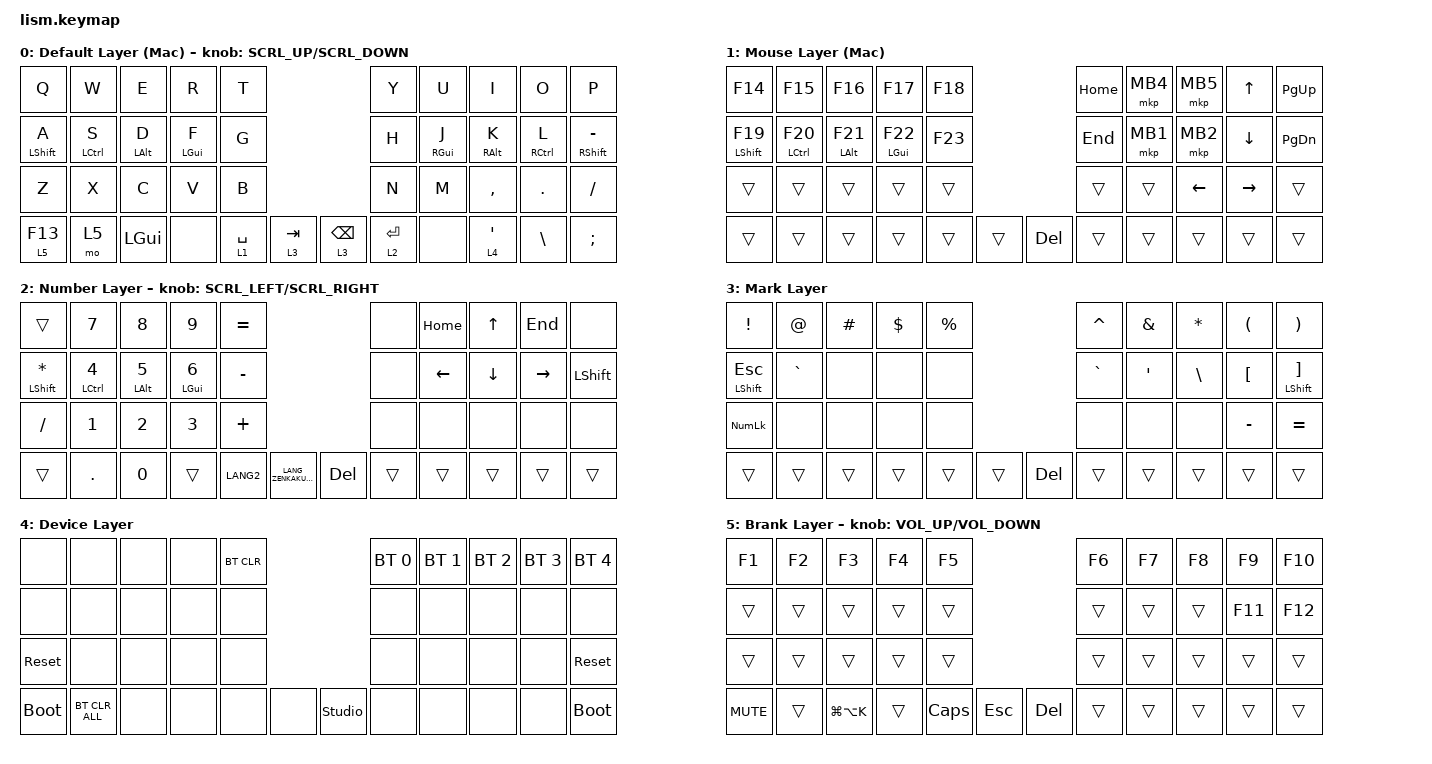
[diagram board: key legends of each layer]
#define ZMK_POINTING_DEFAULT_SCRL_VAL 100

#include <dt-bindings/zmk/mouse.h>
#include <behaviors.dtsi>
#include <dt-bindings/zmk/bt.h>
#include <dt-bindings/zmk/keys.h>
#include <dt-bindings/zmk/pointing.h>

&mt {
    tapping-term-ms = <300>;
    flavor = "balanced";
};

&lt { quick-tap-ms = <300>; };

/ {
    macros {
        emoji: emoji_macro {
            compatible = "zmk,behavior-macro";
            label = "EMOJI";
            #binding-cells = <0>;
            bindings =
                <&macro_press>,
                <&kp CAPSLOCK>,
                <&macro_tap>,
                <&kp E>,
                <&macro_release>,
                <&kp CAPSLOCK>;
        };
    };

    behaviors {
        encoder_msc: sensor_rotate_msc {
            compatible = "zmk,behavior-sensor-rotate-var";
            #sensor-binding-cells = <2>;
            bindings = <&msc>, <&msc>;

            tap-ms = <20>;
        };

        encoder_kp: sensor_rotate_kp {
            compatible = "zmk,behavior-sensor-rotate-var";
            #sensor-binding-cells = <2>;
            bindings = <&kp>, <&kp>;
        };
    };

    keymap {
        compatible = "zmk,keymap";

        default_layer {
            display-name = "Default Layer (Mac)";
            bindings = <
&kp Q             &kp W               &kp E           &kp R           &kp T                                      &kp Y        &kp U            &kp I            &kp O                &kp P
&mt LEFT_SHIFT A  &mt LEFT_CONTROL S  &mt LEFT_ALT D  &mt LEFT_GUI F  &kp G                                      &kp H        &mt RIGHT_GUI J  &mt RIGHT_ALT K  &mt RIGHT_CONTROL L  &mt RIGHT_SHIFT MINUS
&kp Z             &kp X               &kp C           &kp V           &kp B                                      &kp N        &kp M            &kp COMMA        &kp DOT              &kp SLASH
&lt 5 F13         &mo 5               &kp LEFT_GUI    &none           &lt 1 SPACE  &lt 3 TAB    &lt 3 BACKSPACE  &lt 2 ENTER  &none            &lt 4 SQT        &kp BACKSLASH        &kp SEMICOLON
            >;

            sensor-bindings = <&encoder_msc SCRL_UP SCRL_DOWN>;
        };

        MouseLayer_Mac {
            display-name = "Mouse Layer (Mac)";
            bindings = <
&kp F14             &kp F15               &kp F16           &kp F17           &kp F18                        &kp HOME  &mkp MB4  &mkp MB5  &kp UP_ARROW  &kp PAGE_UP
&mt LEFT_SHIFT F19  &mt LEFT_CONTROL F20  &mt LEFT_ALT F21  &mt LEFT_GUI F22  &kp F23                        &kp END   &mkp MB1  &mkp MB2  &kp DOWN      &kp PAGE_DOWN
&trans              &trans                &trans            &trans            &trans                         &trans    &trans    &kp LEFT  &kp RIGHT     &trans
&trans              &trans                &trans            &trans            &trans   &trans    &kp DELETE  &trans    &trans    &trans    &trans        &trans
            >;
        };

        Allow_and_Num {
            display-name = "Number Layer";
            bindings = <
&trans                   &kp NUMBER_7               &kp NUMBER_8           &kp NUMBER_9       &kp EQUAL                                         &none   &kp HOME  &kp UP_ARROW  &kp END    &none
&mt LEFT_SHIFT ASTERISK  &mt LEFT_CONTROL NUMBER_4  &mt LEFT_ALT NUMBER_5  &mt LGUI NUMBER_6  &kp MINUS                                         &none   &kp LEFT  &kp DOWN      &kp RIGHT  &kp LEFT_SHIFT
&kp SLASH                &kp NUMBER_1               &kp NUMBER_2           &kp NUMBER_3       &kp PLUS                                          &none   &none     &none         &none      &none
&trans                   &kp DOT                    &kp NUMBER_0           &trans             &kp LANG2  &kp LANG_ZENKAKUHANKAKU    &kp DELETE  &trans  &trans    &trans        &trans     &trans
            >;

            sensor-bindings = <&encoder_msc SCRL_LEFT SCRL_RIGHT>;
        };

        Mark {
            display-name = "Mark Layer";
            bindings = <
&kp EXCLAMATION        &kp AT_SIGN  &kp HASH  &kp DOLLAR  &kp PERCENT                        &kp CARET  &kp AMPERSAND     &kp ASTERISK   &kp LEFT_PARENTHESIS  &kp RIGHT_PARENTHESIS
&mt LEFT_SHIFT ESCAPE  &kp GRAVE    &none     &none       &none                              &kp GRAVE  &kp SINGLE_QUOTE  &kp BACKSLASH  &kp LEFT_BRACKET      &mt LEFT_SHIFT RIGHT_BRACKET
&kp KP_NUMLOCK         &none        &none     &none       &none                              &none      &none             &none          &kp MINUS             &kp EQUAL
&trans                 &trans       &trans    &trans      &trans       &trans    &kp DELETE  &trans     &trans            &trans         &trans                &trans
            >;
        };

        BT_Layer {
            display-name = "Device Layer";
            bindings = <
&none        &none           &none  &none  &bt BT_CLR                           &bt BT_SEL 0  &bt BT_SEL 1  &bt BT_SEL 2  &bt BT_SEL 3  &bt BT_SEL 4
&none        &none           &none  &none  &none                                &none         &none         &none         &none         &none
&sys_reset   &none           &none  &none  &none                                &none         &none         &none         &none         &sys_reset
&bootloader  &bt BT_CLR_ALL  &none  &none  &none       &none    &studio_unlock  &none         &none         &none         &none         &bootloader
            >;
        };

        FunctionLayer {
            display-name = "Brank Layer";
            bindings = <
&kp F1      &kp F2  &kp F3         &kp F4  &kp F5                                  &kp F6  &kp F7  &kp F8  &kp F9   &kp F10
&trans      &trans  &trans         &trans  &trans                                  &trans  &trans  &trans  &kp F11  &kp F12
&trans      &trans  &trans         &trans  &trans                                  &trans  &trans  &trans  &trans   &trans
&kp C_MUTE  &trans  &kp LG(LA(K))  &trans  &kp CAPSLOCK  &kp ESCAPE    &kp DELETE  &trans  &trans  &trans  &trans   &trans
            >;

            sensor-bindings = <&inc_dec_kp C_VOLUME_UP C_VOLUME_DOWN>;
        };

        layer_6 {
            status = "reserved";
            display-name = "Brank Layer";
            bindings = <
&trans  &trans  &trans  &trans  &trans                    &trans  &trans  &trans  &trans  &trans
&trans  &trans  &trans  &trans  &trans                    &trans  &trans  &trans  &trans  &trans
&trans  &trans  &trans  &trans  &trans                    &trans  &trans  &trans  &trans  &trans
&trans  &trans  &trans  &trans  &trans  &trans    &trans  &trans  &trans  &trans  &trans  &trans
            >;
        };

        layer_7 {
            status = "reserved";
            display-name = "Brank Layer";
            bindings = <
&trans  &trans  &trans  &trans  &trans                    &trans  &trans  &trans  &trans  &trans
&trans  &trans  &trans  &trans  &trans                    &trans  &trans  &trans  &trans  &trans
&trans  &trans  &trans  &trans  &trans                    &trans  &trans  &trans  &trans  &trans
&trans  &trans  &trans  &trans  &trans  &trans    &trans  &trans  &trans  &trans  &trans  &trans
            >;
        };
    };
};
